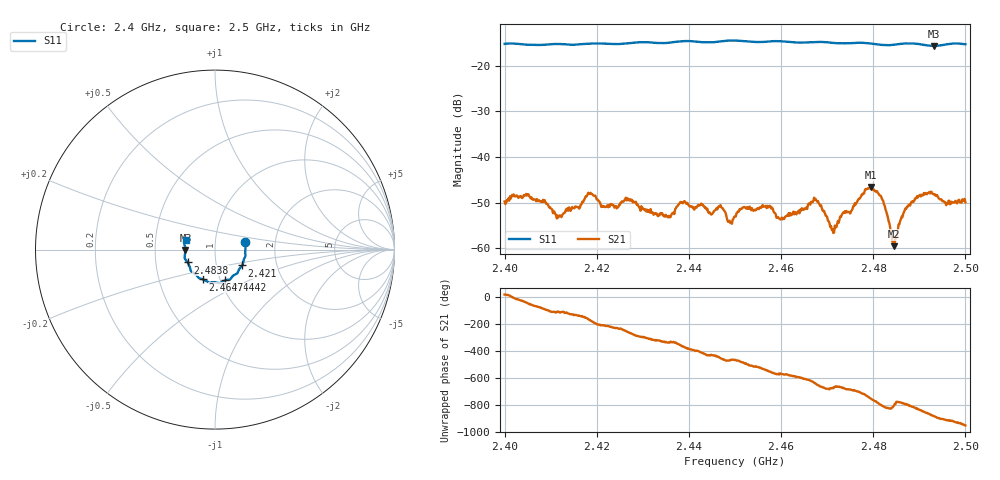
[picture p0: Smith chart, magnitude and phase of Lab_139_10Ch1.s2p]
# Hz S RI R 50
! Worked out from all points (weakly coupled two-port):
!   601 points, 2.4 GHz to 2.5 GHz, reference 50 ohm
!   highest |S21| = -46.59 dB at 2.4795 GHz (marker M1); lowest = -59.5 dB at 2.4845 GHz (marker M2)
!   lowest |S11| = -15.6 dB at 2.4932 GHz (marker M3), VSWR 1.40, Z = 35.8 - j0.109 ohm
!   |S11| at or under -10 dB: start of sweep to end of sweep
!   S12 and S22 are empty: the file has one direction only
!   S11 on the Smith chart (normalised r, x): 2.4 GHz: 1.40, +0.12; 2.421 GHz: 1.33, -0.24; 2.4442 GHz: 1.05, -0.37; 2.4647 GHz: 0.83, -0.28; 2.4838 GHz: 0.73, -0.11; 2.5 GHz: 0.72, +0.08
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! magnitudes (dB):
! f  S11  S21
! 2.4 GHz  -15.2  -49.8
! 2.405 GHz  -15.4  -48.1
! 2.4118 GHz  -15.2  -52.9
! 2.4167 GHz  -15.3  -50.4
! 2.4185 GHz  -15.2  -48.1
! 2.421 GHz  -15.1  -50.9
! 2.4267 GHz  -15.1  -49.0
! 2.4333 GHz  -15.0  -53.0
! 2.4387 GHz  -14.6  -50.1
! 2.4442 GHz  -14.9  -52.0
! 2.45 GHz  -14.5  -53.0
! 2.4647 GHz  -14.9  -51.6
! 2.4667 GHz  -14.8  -49.8
! 2.4715 GHz  -15.0  -56.5
! 2.4795 GHz  -15.1  -46.6
! 2.4817 GHz  -15.4  -48.6
! 2.4833 GHz  -15.5  -54.0
! 2.4838 GHz  -15.5  -56.6
! 2.4845 GHz  -15.4  -59.5
! 2.4873 GHz  -15.1  -50.9
! 2.4932 GHz  -15.6  -48.2
! 2.5 GHz  -15.3  -49.9
